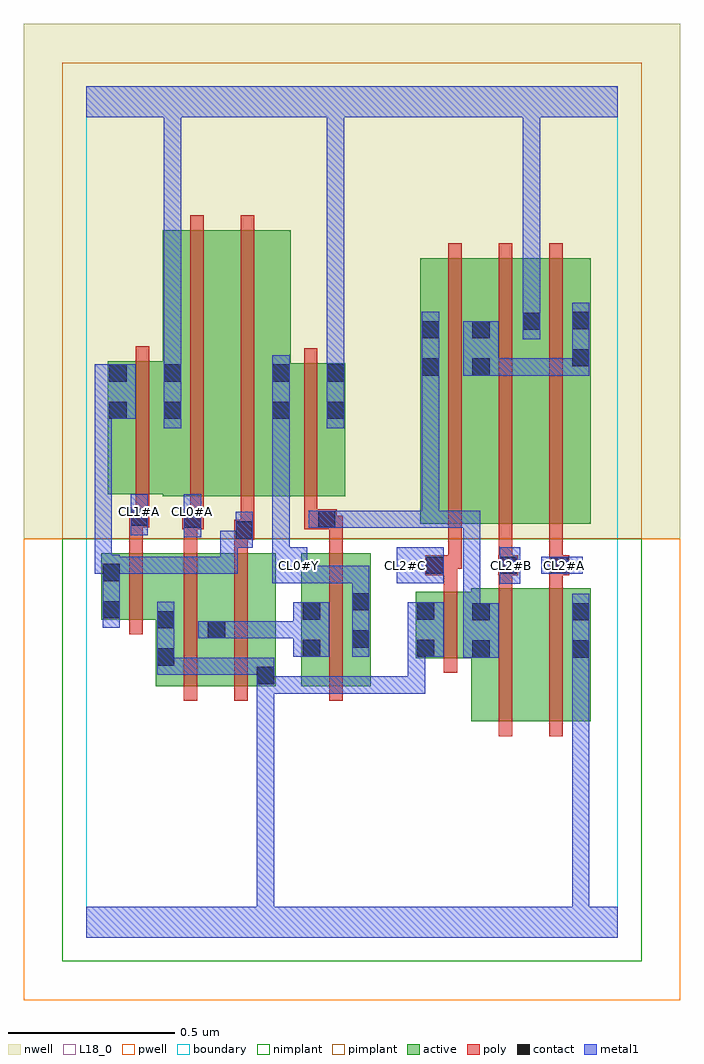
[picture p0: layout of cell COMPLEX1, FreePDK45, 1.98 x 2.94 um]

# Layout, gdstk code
import gdstk
lib = gdstk.Library(unit=1e-6, precision=1e-09)
def R(c, l, rs):  # rectangles x0, y0, x1, y1
    for r in rs: c.add(gdstk.rectangle(r[:2], r[2:], *l))
def A(c, l, x, y, w, h, nx, ny, dx, dy):  # array of equal rectangles
    R(c, l, [(x+i*dx, y+j*dy, x+i*dx+w, y+j*dy+h) for i in range(nx) for j in range(ny)])
active = (1, 0)
pwell = (2, 0)
nwell = (3, 0)
nimplant = (4, 0)
pimplant = (5, 0)
poly = (9, 0)
contact = (10, 0)
metal1 = (11, 0)
L18_0 = (18, 0)
boundary = (235, 0)

complex1 = lib.new_cell('COMPLEX1')
R(complex1, active, [(1.158,0.65,1.338,1.05), (1.158,0.65,1.218,1.01), (1.338,0.65,1.518,1.05), (1.458,0.65,1.518,1.05), (0.21,0.756,0.27,1.156), (0.21,0.756,0.422,1.156), (0.362,0.756,0.422,1.156), (0.362,0.756,0.57,1.156), (0.51,0.756,0.57,1.156), (0.648,0.756,0.708,1.156), (0.648,0.756,0.856,1.156), (0.796,0.756,0.856,1.156), (0.992,0.84,1.218,1.04), (0.992,0.84,1.052,1.04), (0.046,0.956,0.106,1.156), (0.046,0.956,0.27,1.156), (1.006,1.244,1.066,2.044), (1.006,1.244,1.218,2.044), (1.158,1.244,1.37,2.044), (1.31,1.244,1.37,2.044), (1.31,1.244,1.518,2.044), (1.458,1.244,1.518,2.044), (0.23,1.328,0.41,2.128), (0.41,1.328,0.616,2.128), (0.556,1.328,0.616,1.728), (0.556,1.328,0.78,1.728), (0.72,1.328,0.78,1.728), (0.066,1.334,0.126,1.734), (0.066,1.334,0.29,1.734), (0.23,1.334,0.29,2.128), (1.158,1.686,1.218,2.044)])
R(complex1, pwell, [(-0.188,-0.188,1.788,1.2)])
R(complex1, nwell, [(-0.188,1.2,1.788,2.748)])
R(complex1, nimplant, [(-0.072,-0.072,1.672,1.2)])
R(complex1, pimplant, [(-0.072,1.2,1.672,2.632)])
A(complex1, poly, 1.09, 1.11, 0.04, 0.13, 3, 1, 0.152, 0)
A(complex1, poly, 1.09, 1.2, 0.04, 0.888, 3, 1, 0.152, 0)
R(complex1, poly, [(1.242,0.606,1.282,1.094), (1.394,0.606,1.434,1.094), (0.294,0.712,0.334,1.2), (0.446,0.712,0.486,1.2), (0.732,0.712,0.772,1.2), (1.076,0.796,1.116,1.084), (0.13,0.912,0.17,1.2), (1.076,1.044,1.116,1.13), (1.242,1.054,1.282,1.13), (1.394,1.054,1.434,1.13), (1.02,1.09,1.116,1.15), (1.24,1.09,1.3,1.15), (1.394,1.09,1.434,1.13), (1.394,1.09,1.434,1.13), (1.394,1.09,1.454,1.15), (1.076,1.11,1.116,1.15), (1.076,1.11,1.13,1.15), (1.242,1.11,1.282,1.15), (1.242,1.11,1.282,1.15), (0.13,1.16,0.17,1.274), (0.294,1.16,0.334,1.268), (0.446,1.16,0.486,1.236), (0.732,1.16,0.772,1.268), (0.446,1.196,0.506,1.256), (0.466,1.216,0.506,1.256), (0.466,1.216,0.506,1.256), (0.466,1.216,0.506,1.324), (0.29,1.228,0.354,1.288), (0.294,1.228,0.334,1.268), (0.294,1.228,0.334,1.268), (0.656,1.228,0.754,1.288), (0.714,1.228,0.754,1.268), (0.714,1.228,0.772,1.268), (0.13,1.234,0.17,1.274), (0.13,1.234,0.17,1.274), (0.13,1.234,0.19,1.294), (0.314,1.248,0.354,1.324), (0.656,1.248,0.696,1.324), (0.15,1.254,0.19,1.33), (0.314,1.284,0.354,2.172), (0.466,1.284,0.506,2.172), (0.656,1.284,0.696,1.772), (0.15,1.29,0.19,1.778)])
R(complex1, contact, [(0.514,0.762,0.566,0.814), (0.214,0.818,0.266,0.87), (1.162,0.842,1.214,0.894), (1.462,0.842,1.514,0.894), (0.652,0.844,0.704,0.896), (0.996,0.844,1.048,0.896), (0.8,0.872,0.852,0.924), (0.366,0.9,0.418,0.952), (0.214,0.93,0.266,0.982), (1.162,0.954,1.214,1.006), (1.462,0.954,1.514,1.006), (0.652,0.956,0.704,1.008), (0.996,0.956,1.048,1.008), (0.05,0.96,0.102,1.012), (0.8,0.984,0.852,1.036), (0.05,1.072,0.102,1.124), (1.024,1.094,1.076,1.146), (1.244,1.094,1.296,1.146), (1.398,1.094,1.45,1.146), (0.45,1.2,0.502,1.252), (0.294,1.232,0.346,1.284), (0.698,1.232,0.75,1.284), (0.134,1.238,0.186,1.29), (0.07,1.56,0.122,1.612), (0.234,1.56,0.286,1.612), (0.56,1.56,0.612,1.612), (0.724,1.56,0.776,1.612), (0.07,1.672,0.122,1.724), (0.234,1.672,0.286,1.724), (0.56,1.672,0.612,1.724), (0.724,1.672,0.776,1.724), (1.01,1.69,1.062,1.742), (1.162,1.69,1.214,1.742), (1.462,1.718,1.514,1.77), (1.01,1.802,1.062,1.854), (1.162,1.802,1.214,1.854), (1.314,1.828,1.366,1.88), (1.462,1.83,1.514,1.882)])
R(complex1, metal1, [(0,0,1.6,0.092), (0.514,0.04,0.566,0.092), (0.514,0.04,0.566,0.092), (0.514,0.04,0.566,0.092), (0.514,0.04,0.566,0.092), (0.514,0.04,0.566,0.092), (0.514,0.04,0.566,0.092), (0.514,0.04,0.566,0.092), (0.514,0.04,0.566,0.092), (0.514,0.04,0.566,0.092), (0.514,0.04,0.566,0.092), (0.514,0.04,0.566,0.786), (1.462,0.04,1.514,0.866), (0.514,0.734,0.566,0.786), (0.514,0.734,0.566,0.786), (0.514,0.734,0.566,0.786), (0.514,0.734,0.566,0.786), (0.514,0.734,0.566,0.842), (0.514,0.734,0.776,0.786), (0.724,0.734,0.776,0.786), (0.724,0.734,0.776,0.786), (0.724,0.734,0.776,0.786), (0.724,0.734,1.02,0.786), (0.968,0.734,1.02,0.786), (0.968,0.734,1.02,0.786), (0.968,0.734,1.02,0.786), (0.968,0.734,1.02,0.896), (0.214,0.79,0.266,0.842), (0.214,0.79,0.266,0.842), (0.214,0.79,0.266,1.01), (0.214,0.79,0.376,0.842), (0.324,0.79,0.376,0.842), (0.324,0.79,0.376,0.842), (0.324,0.79,0.376,0.842), (0.324,0.79,0.566,0.842), (1.462,0.814,1.514,0.866), (1.462,0.814,1.514,0.866), (1.462,0.814,1.514,0.866), (1.462,0.814,1.514,0.866), (1.462,0.814,1.514,0.866), (1.462,0.814,1.514,0.866), (1.462,0.814,1.514,0.866), (1.462,0.814,1.514,0.866), (1.462,0.814,1.514,0.866), (1.462,0.814,1.514,0.866), (1.462,0.814,1.514,0.866), (1.462,0.814,1.514,0.866), (1.462,0.814,1.514,1.034), (1.134,0.842,1.242,1.006), (0.624,0.844,0.732,1.008), (0.8,0.844,0.852,1.064), (0.968,0.844,1.076,1.008), (0.338,0.9,0.446,0.952), (0.394,0.9,0.456,0.952), (0.404,0.9,0.456,0.952), (0.404,0.9,0.612,0.952), (0.56,0.9,0.612,0.952), (0.56,0.9,0.676,0.952), (0.05,0.932,0.102,1.152), (1.134,0.954,1.186,1.006), (1.134,0.954,1.186,1.006), (1.134,0.954,1.186,1.284), (0.8,1.012,0.852,1.118), (1.244,1.064,1.306,1.174), (0.56,1.066,0.666,1.174), (0.614,1.066,0.852,1.118), (0.8,1.066,0.852,1.118), (0.8,1.066,0.852,1.118), (0.8,1.066,0.852,1.118), (0.934,1.066,1.076,1.174), (0.026,1.094,0.078,1.146), (0.026,1.094,0.078,1.146), (0.026,1.094,0.078,1.146), (0.026,1.094,0.212,1.146), (0.026,1.094,0.078,1.612), (0.05,1.094,0.102,1.146), (0.05,1.094,0.102,1.146), (0.05,1.094,0.212,1.146), (0.16,1.094,0.212,1.146), (0.16,1.094,0.212,1.146), (0.16,1.094,0.212,1.146), (0.16,1.094,0.212,1.146), (0.16,1.094,0.212,1.146), (0.16,1.094,0.456,1.146), (0.404,1.094,0.456,1.224), (1.37,1.094,1.494,1.146), (0.56,1.122,0.612,1.174), (0.56,1.122,0.612,1.174), (0.56,1.122,0.612,1.584), (0.404,1.172,0.502,1.224), (0.45,1.172,0.502,1.28), (0.294,1.204,0.346,1.334), (0.134,1.21,0.186,1.334), (0.67,1.232,0.778,1.284), (0.726,1.232,0.778,1.284), (0.726,1.232,0.778,1.284), (0.726,1.232,1.062,1.284), (1.01,1.232,1.062,1.284), (1.01,1.232,1.186,1.284), (1.01,1.232,1.062,1.714), (1.134,1.232,1.186,1.284), (1.134,1.232,1.186,1.284), (1.134,1.232,1.186,1.284), (0.234,1.532,0.286,1.752), (0.56,1.532,0.612,1.752), (0.724,1.532,0.776,1.752), (0.026,1.56,0.078,1.612), (0.026,1.56,0.078,1.612), (0.026,1.56,0.15,1.724), (1.01,1.662,1.062,1.882), (1.134,1.69,1.242,1.854), (1.19,1.69,1.312,1.742), (1.26,1.69,1.312,1.742), (1.26,1.69,1.404,1.742), (1.352,1.69,1.404,1.742), (1.352,1.69,1.514,1.742), (1.462,1.69,1.514,1.742), (1.462,1.69,1.514,1.742), (1.462,1.69,1.514,1.91), (0.234,1.7,0.286,1.752), (0.234,1.7,0.286,1.752), (0.234,1.7,0.286,1.752), (0.234,1.7,0.286,1.752), (0.234,1.7,0.286,1.752), (0.234,1.7,0.286,1.752), (0.234,1.7,0.286,2.52), (0.724,1.7,0.776,1.752), (0.724,1.7,0.776,1.752), (0.724,1.7,0.776,1.752), (0.724,1.7,0.776,1.752), (0.724,1.7,0.776,2.52), (1.314,1.8,1.366,1.908), (1.314,1.856,1.366,2.52), (0,2.468,1.6,2.56), (0.234,2.468,0.286,2.52), (0.234,2.468,0.286,2.52), (0.724,2.468,0.776,2.52), (0.724,2.468,0.776,2.52), (0.724,2.468,0.776,2.52), (0.724,2.468,0.776,2.52), (0.724,2.468,0.776,2.52), (0.724,2.468,0.776,2.52), (0.724,2.468,0.776,2.52), (0.724,2.468,0.776,2.52), (0.724,2.468,0.776,2.52), (0.724,2.468,0.776,2.52), (0.724,2.468,0.776,2.52), (0.724,2.468,0.776,2.52), (1.314,2.468,1.366,2.52), (1.314,2.468,1.366,2.52), (1.314,2.468,1.366,2.52), (1.314,2.468,1.366,2.52), (1.314,2.468,1.366,2.52), (1.314,2.468,1.366,2.52), (1.314,2.468,1.366,2.52), (1.314,2.468,1.366,2.52)])
A(complex1, L18_0, 0.614, 1.094, 0.052, 0.052, 3, 1, 0.32, 0)
R(complex1, L18_0, [(0,0,1.6,0.092), (0.514,0.04,0.566,0.092), (0.514,0.04,0.566,0.092), (0.514,0.04,0.566,0.092), (0.514,0.04,0.566,0.092), (0.514,0.04,0.566,0.092), (0.514,0.04,0.566,0.092), (0.514,0.04,0.566,0.092), (0.514,0.04,0.566,0.092), (0.514,0.04,0.566,0.092), (0.514,0.04,0.566,0.092), (0.514,0.04,0.566,0.786), (1.462,0.04,1.514,0.866), (0.514,0.734,0.566,0.786), (0.514,0.734,0.566,0.786), (0.514,0.734,0.566,0.786), (0.514,0.734,0.566,0.786), (0.514,0.734,0.566,0.842), (0.514,0.734,0.776,0.786), (0.724,0.734,0.776,0.786), (0.724,0.734,0.776,0.786), (0.724,0.734,0.776,0.786), (0.724,0.734,1.02,0.786), (0.968,0.734,1.02,0.786), (0.968,0.734,1.02,0.786), (0.968,0.734,1.02,0.786), (0.968,0.734,1.02,0.896), (0.214,0.79,0.266,1.01), (0.214,0.79,0.266,0.842), (0.214,0.79,0.266,0.842), (0.214,0.79,0.376,0.842), (0.324,0.79,0.376,0.842), (0.324,0.79,0.376,0.842), (0.324,0.79,0.376,0.842), (0.324,0.79,0.566,0.842), (1.462,0.814,1.514,1.034), (1.462,0.814,1.514,0.866), (1.462,0.814,1.514,0.866), (1.462,0.814,1.514,0.866), (1.462,0.814,1.514,0.866), (1.462,0.814,1.514,0.866), (1.462,0.814,1.514,0.866), (1.462,0.814,1.514,0.866), (1.462,0.814,1.514,0.866), (1.462,0.814,1.514,0.866), (1.462,0.814,1.514,0.866), (1.462,0.814,1.514,0.866), (1.462,0.814,1.514,0.866), (0.8,0.844,0.852,1.064), (0.968,0.844,1.076,1.008), (0.8,1.012,0.852,1.118), (1.244,1.064,1.306,1.174), (0.56,1.066,0.666,1.174), (0.614,1.066,0.852,1.118), (0.8,1.066,0.852,1.118), (0.8,1.066,0.852,1.118), (0.8,1.066,0.852,1.118), (0.934,1.066,1.076,1.174), (1.37,1.094,1.494,1.146), (1.414,1.094,1.466,1.146), (0.56,1.122,0.612,1.174), (0.56,1.122,0.612,1.174), (0.56,1.122,0.612,1.584), (0.294,1.204,0.346,1.334), (0.134,1.21,0.186,1.334), (0.134,1.254,0.186,1.306), (0.294,1.254,0.346,1.306), (0.234,1.532,0.286,1.752), (0.56,1.532,0.612,1.752), (0.724,1.532,0.776,1.752), (0.234,1.7,0.286,1.752), (0.234,1.7,0.286,1.752), (0.234,1.7,0.286,1.752), (0.234,1.7,0.286,1.752), (0.234,1.7,0.286,1.752), (0.234,1.7,0.286,1.752), (0.234,1.7,0.286,2.52), (0.724,1.7,0.776,1.752), (0.724,1.7,0.776,1.752), (0.724,1.7,0.776,1.752), (0.724,1.7,0.776,1.752), (0.724,1.7,0.776,2.52), (1.314,1.8,1.366,1.908), (1.314,1.856,1.366,2.52), (0,2.468,1.6,2.56), (0.234,2.468,0.286,2.52), (0.234,2.468,0.286,2.52), (0.724,2.468,0.776,2.52), (0.724,2.468,0.776,2.52), (0.724,2.468,0.776,2.52), (0.724,2.468,0.776,2.52), (0.724,2.468,0.776,2.52), (0.724,2.468,0.776,2.52), (0.724,2.468,0.776,2.52), (0.724,2.468,0.776,2.52), (0.724,2.468,0.776,2.52), (0.724,2.468,0.776,2.52), (0.724,2.468,0.776,2.52), (0.724,2.468,0.776,2.52), (1.314,2.468,1.366,2.52), (1.314,2.468,1.366,2.52), (1.314,2.468,1.366,2.52), (1.314,2.468,1.366,2.52), (1.314,2.468,1.366,2.52), (1.314,2.468,1.366,2.52), (1.314,2.468,1.366,2.52), (1.314,2.468,1.366,2.52)])
R(complex1, boundary, [(0,0,1.6,2.56)])
complex1.add(gdstk.Label('CL0#A', (0.32,1.28), layer=11, texttype=0))
complex1.add(gdstk.Label('CL0#Y', (0.64,1.12), layer=11, texttype=0))
complex1.add(gdstk.Label('CL1#A', (0.16,1.28), layer=11, texttype=0))
complex1.add(gdstk.Label('CL2#A', (1.44,1.12), layer=11, texttype=0))
complex1.add(gdstk.Label('CL2#B', (1.28,1.12), layer=11, texttype=0))
complex1.add(gdstk.Label('CL2#C', (0.96,1.12), layer=11, texttype=0))

lib.write_gds('COMPLEX1.gds')
